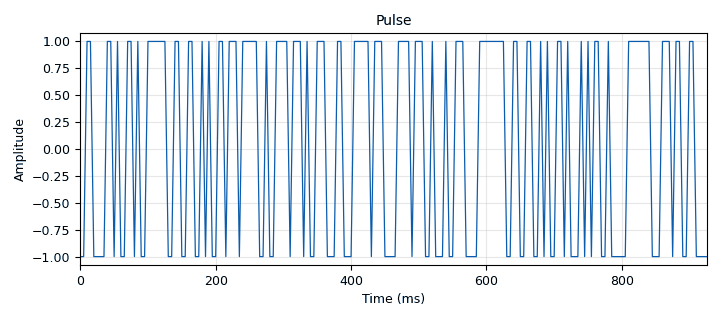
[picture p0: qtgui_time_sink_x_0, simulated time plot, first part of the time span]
<?xml version='1.0' encoding='utf-8'?>
<?grc format='1' created='3.7.10'?>
<flow_graph>
<block>
<key>options</key>
<param><key>id</key><value>tags_lab3</value></param>
<param><key>category</key><value>Custom</value></param>
<param><key>generate_options</key><value>qt_gui</value></param>
</block>
<block>
<key>variable</key>
<param><key>id</key><value>length_tag_name</value></param>
<param><key>value</key><value>"packet_len"</value></param>
</block>
<block>
<key>variable</key>
<param><key>id</key><value>samp_rate</value></param>
<param><key>value</key><value>200</value></param>
</block>
<block>
<key>variable</key>
<param><key>id</key><value>sequence</value></param>
<param><key>value</key><value>[1,1,-1,-1,1,1,-1,-1,1,1,-1,-1,1,-1,1,-1,-1,1,1,-1]</value></param>
</block>
<block>
<key>variable_tag_object</key>
<param><key>id</key><value>src_tag</value></param>
<param><key>key</key><value>pmt.intern(length_tag_name)</value></param>
<param><key>offset</key><value>0</value></param>
<param><key>src</key><value>pmt.intern("src")</value></param>
<param><key>value</key><value>pmt.from_long(len(sequence))</value></param>
</block>
<block>
<key>blocks_stream_to_tagged_stream</key>
<param><key>id</key><value>blocks_stream_to_tagged_stream_0</value></param>
<param><key>len_tag_key</key><value>length_tag_name</value></param>
<param><key>packet_len</key><value>80</value></param>
<param><key>type</key><value>float</value></param>
</block>
<block>
<key>blocks_tag_debug</key>
<param><key>id</key><value>blocks_tag_debug_0</value></param>
<param><key>_enabled</key><value>0</value></param>
<param><key>type</key><value>float</value></param>
</block>
<block>
<key>blocks_tagged_stream_mux</key>
<param><key>id</key><value>blocks_tagged_stream_mux_0</value></param>
<param><key>type</key><value>float</value></param>
<param><key>lengthtagname</key><value>length_tag_name</value></param>
<param><key>ninputs</key><value>2</value></param>
</block>
<block>
<key>blocks_tagged_stream_to_pdu</key>
<param><key>id</key><value>blocks_tagged_stream_to_pdu_0</value></param>
<param><key>type</key><value>float</value></param>
<param><key>tag</key><value>length_tag_name</value></param>
</block>
<block>
<key>blocks_throttle</key>
<param><key>id</key><value>blocks_throttle_0</value></param>
<param><key>samples_per_second</key><value>samp_rate</value></param>
<param><key>type</key><value>float</value></param>
</block>
<block>
<key>blocks_vector_source_x</key>
<param><key>id</key><value>blocks_vector_source_x_0</value></param>
<param><key>type</key><value>float</value></param>
<param><key>repeat</key><value>True</value></param>
<param><key>tags</key><value>[src_tag]</value></param>
<param><key>vector</key><value>sequence</value></param>
</block>
<block>
<key>digital_glfsr_source_x</key>
<param><key>id</key><value>digital_glfsr_source_x_0</value></param>
<param><key>degree</key><value>31</value></param>
<param><key>mask</key><value>0</value></param>
<param><key>repeat</key><value>True</value></param>
<param><key>seed</key><value>1</value></param>
<param><key>type</key><value>float</value></param>
</block>
<block>
<key>import</key>
<param><key>id</key><value>import_0</value></param>
<param><key>import</key><value>import pmt</value></param>
</block>
<block>
<key>qtgui_time_sink_x</key>
<param><key>id</key><value>qtgui_time_sink_x_0</value></param>
<param><key>color1</key><value>"blue"</value></param>
<param><key>label1</key><value></value></param>
<param><key>name</key><value>"Pulse"</value></param>
<param><key>size</key><value>1024</value></param>
<param><key>srate</key><value>samp_rate</value></param>
<param><key>type</key><value>float</value></param>
</block>
<connection><source_block_id>blocks_stream_to_tagged_stream_0</source_block_id><sink_block_id>blocks_tagged_stream_mux_0</sink_block_id><source_key>0</source_key><sink_key>1</sink_key></connection>
<connection><source_block_id>blocks_tagged_stream_mux_0</source_block_id><sink_block_id>blocks_tagged_stream_to_pdu_0</sink_block_id><source_key>0</source_key><sink_key>0</sink_key></connection>
<connection><source_block_id>blocks_tagged_stream_mux_0</source_block_id><sink_block_id>blocks_throttle_0</sink_block_id><source_key>0</source_key><sink_key>0</sink_key></connection>
<connection><source_block_id>blocks_throttle_0</source_block_id><sink_block_id>blocks_tag_debug_0</sink_block_id><source_key>0</source_key><sink_key>0</sink_key></connection>
<connection><source_block_id>blocks_throttle_0</source_block_id><sink_block_id>qtgui_time_sink_x_0</sink_block_id><source_key>0</source_key><sink_key>0</sink_key></connection>
<connection><source_block_id>blocks_vector_source_x_0</source_block_id><sink_block_id>blocks_tagged_stream_mux_0</sink_block_id><source_key>0</source_key><sink_key>0</sink_key></connection>
<connection><source_block_id>digital_glfsr_source_x_0</source_block_id><sink_block_id>blocks_stream_to_tagged_stream_0</sink_block_id><source_key>0</source_key><sink_key>0</sink_key></connection>
</flow_graph>
